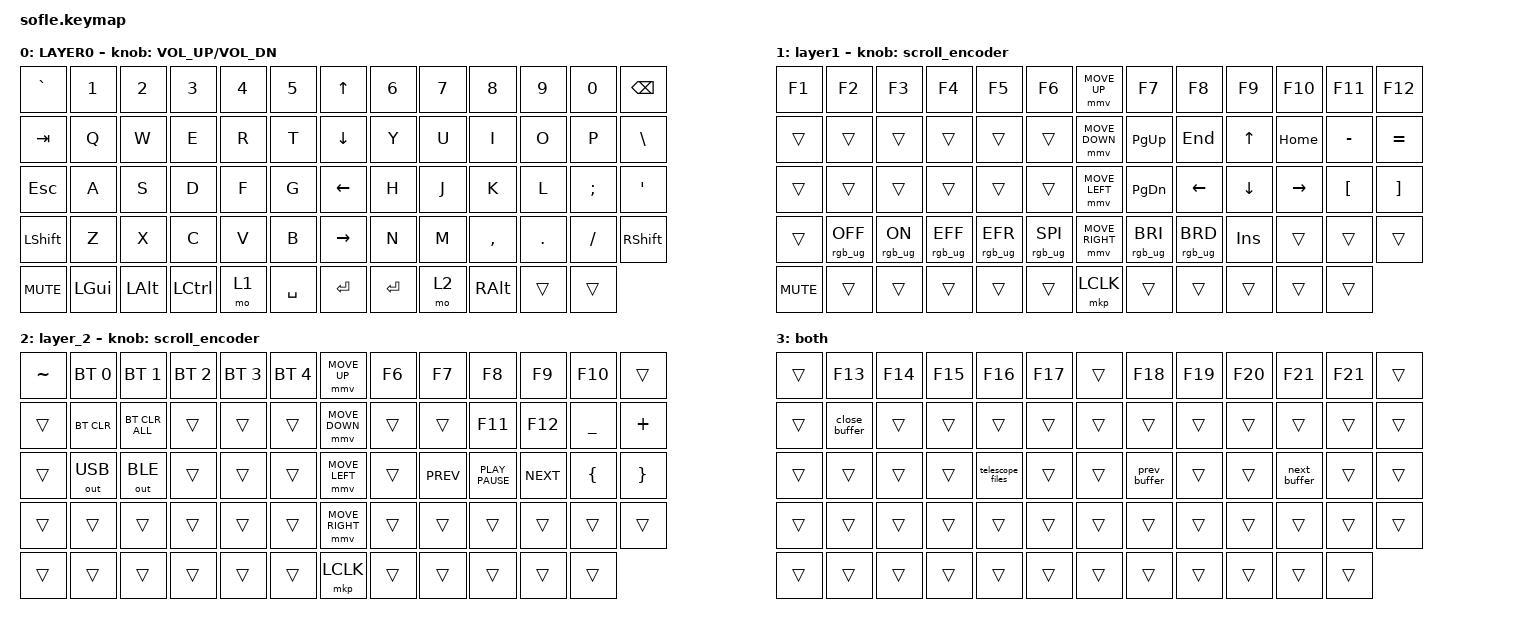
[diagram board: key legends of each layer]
#include <behaviors/mouse_keys.dtsi>
#include <dt-bindings/zmk/mouse.h>
#include <behaviors.dtsi>
#include <dt-bindings/zmk/bt.h>
#include <dt-bindings/zmk/keys.h>
#include <dt-bindings/zmk/outputs.h>
#include <dt-bindings/zmk/rgb.h>

#define ZMK_MOUSE_DEFAULT_MOVE_VAL 1200  // 600
#define ZMK_MOUSE_DEFAULT_SCRL_VAL 20    // 10
#define U_MS_U &mmv MOVE_UP
#define U_MS_D &mmv MOVE_DOWN
#define U_MS_L &mmv MOVE_LEFT
#define U_MS_R &mmv MOVE_RIGHT
#define ZMK_MOUSE_DEFAULT_MOVE_VAL 1200  //  600
#define ZMK_MOUSE_DEFAULT_SCRL_VAL 20    // 10

/ {
    behaviors {
        mmv {
            acceleration-exponent = <1>;      // 1
            time-to-max-speed-ms = <900>;    // 40
            delay-ms = <0>;                   // 0
        };

        msc {
            acceleration-exponent = <1>;      // 0
            time-to-max-speed-ms = <400>;      // 500
            delay-ms = <0>;                   //   10
        };
    };

    scroll_encoder: scroll_encoder {
        compatible = "zmk,behavior-sensor-rotate";
        #sensor-binding-cells = <0>;
        bindings = <&msc SCRL_DOWN>, <&msc SCRL_UP>;

        tap-ms = <30>;
    };

    macros {
        next_buffer: next_buffer {
            compatible = "zmk,behavior-macro";
            #binding-cells = <0>;
            bindings = <&kp RIGHT_BRACKET &kp B>;
            label = "NEXT_BUFFER";
            wait-ms = <5>;
        };

        prev_buffer: prev_buffer {
            compatible = "zmk,behavior-macro";
            #binding-cells = <0>;
            bindings = <&kp LEFT_BRACKET &kp B>;
            label = "PREV_BUFFER";
            wait-ms = <5>;
        };

        telescope_files: telescope_files {
            compatible = "zmk,behavior-macro";
            #binding-cells = <0>;
            bindings = <&kp BACKSLASH &kp T &kp P>;
            label = "TELESCOPE_FILES";
            wait-ms = <5>;
        };

        close_buffer: close_buffer {
            compatible = "zmk,behavior-macro";
            #binding-cells = <0>;
            bindings = <&kp BACKSLASH &kp B &kp C &kp C>;
            label = "CLOSE_BUFFER";
            wait-ms = <5>;
        };
    };

    keymap {
        compatible = "zmk,keymap";

        base {
            bindings = <
&kp GRAVE   &kp N1    &kp N2    &kp N3     &kp N4  &kp N5       &kp UP_ARROW     &kp N6   &kp N7  &kp N8     &kp N9   &kp N0    &kp BACKSPACE
&kp TAB     &kp Q     &kp W     &kp E      &kp R   &kp T        &kp DOWN_ARROW   &kp Y    &kp U   &kp I      &kp O    &kp P     &kp BSLH
&kp ESC     &kp A     &kp S     &kp D      &kp F   &kp G        &kp LEFT_ARROW   &kp H    &kp J   &kp K      &kp L    &kp SEMI  &kp APOS
&kp LSHFT   &kp Z     &kp X     &kp C      &kp V   &kp B        &kp RIGHT_ARROW  &kp N    &kp M   &kp COMMA  &kp DOT  &kp FSLH  &kp RIGHT_SHIFT
&kp C_MUTE  &kp LGUI  &kp LALT  &kp LCTRL  &mo 1   &kp SPACE    &kp ENTER        &kp RET  &mo 2   &kp RALT   &trans   &trans
            >;

            sensor-bindings = <&inc_dec_kp C_VOLUME_UP C_VOL_DN>;
            display-name = "LAYER0";
        };

        layer_1 {
            bindings = <
&kp F1      &kp F2           &kp F3          &kp F4           &kp F5           &kp F6             &mmv MOVE_UP     &kp F7           &kp F8           &kp F9      &kp F10    &kp F11           &kp F12
&trans      &trans           &trans          &trans           &trans           &trans             &mmv MOVE_DOWN   &kp PG_UP        &kp END          &kp UP      &kp HOME   &kp MINUS         &kp EQUAL
&trans      &trans           &trans          &trans           &trans           &trans             &mmv MOVE_LEFT   &kp PG_DN        &kp LEFT         &kp DOWN    &kp RIGHT  &kp LEFT_BRACKET  &kp RIGHT_BRACKET
&trans      &rgb_ug RGB_OFF  &rgb_ug RGB_ON  &rgb_ug RGB_EFF  &rgb_ug RGB_EFR  &rgb_ug RGB_SPI    &mmv MOVE_RIGHT  &rgb_ug RGB_BRI  &rgb_ug RGB_BRD  &kp INSERT  &trans     &trans            &trans
&kp C_MUTE  &trans           &trans          &trans           &trans           &trans             &mkp LCLK        &trans           &trans           &trans      &trans     &trans
            >;

            display-name = "layer1";
            sensor-bindings = <&scroll_encoder>;
        };

        layer_2 {
            bindings = <
&kp TILDE  &bt BT_SEL 0  &bt BT_SEL 1    &bt BT_SEL 2  &bt BT_SEL 3  &bt BT_SEL 4    &mmv MOVE_UP     &kp F6  &kp F7      &kp F8            &kp F9      &kp F10    &trans
&trans     &bt BT_CLR    &bt BT_CLR_ALL  &trans        &trans        &trans          &mmv MOVE_DOWN   &trans  &trans      &kp F11           &kp F12     &kp UNDER  &kp PLUS
&trans     &out OUT_USB  &out OUT_BLE    &trans        &trans        &trans          &mmv MOVE_LEFT   &trans  &kp K_PREV  &kp K_PLAY_PAUSE  &kp K_NEXT  &kp LBRC   &kp RBRC
&trans     &trans        &trans          &trans        &trans        &trans          &mmv MOVE_RIGHT  &trans  &trans      &trans            &trans      &trans     &trans
&trans     &trans        &trans          &trans        &trans        &trans          &mkp LCLK        &trans  &trans      &trans            &trans      &trans
            >;

            sensor-bindings = <&scroll_encoder>;
        };

        both {
            bindings = <
&trans  &kp F13        &kp F14  &kp F15  &kp F16           &kp F17    &trans  &kp F18       &kp F19  &kp F20  &kp F21       &kp F21  &trans
&trans  &close_buffer  &trans   &trans   &trans            &trans     &trans  &trans        &trans   &trans   &trans        &trans   &trans
&trans  &trans         &trans   &trans   &telescope_files  &trans     &trans  &prev_buffer  &trans   &trans   &next_buffer  &trans   &trans
&trans  &trans         &trans   &trans   &trans            &trans     &trans  &trans        &trans   &trans   &trans        &trans   &trans
&trans  &trans         &trans   &trans   &trans            &trans     &trans  &trans        &trans   &trans   &trans        &trans
            >;
        };
    };

    conditional_layers {
        compatible = "zmk,conditional-layers";

        both_active {
            if-layers = <1 2>;
            then-layer = <3>;
        };
    };
};
